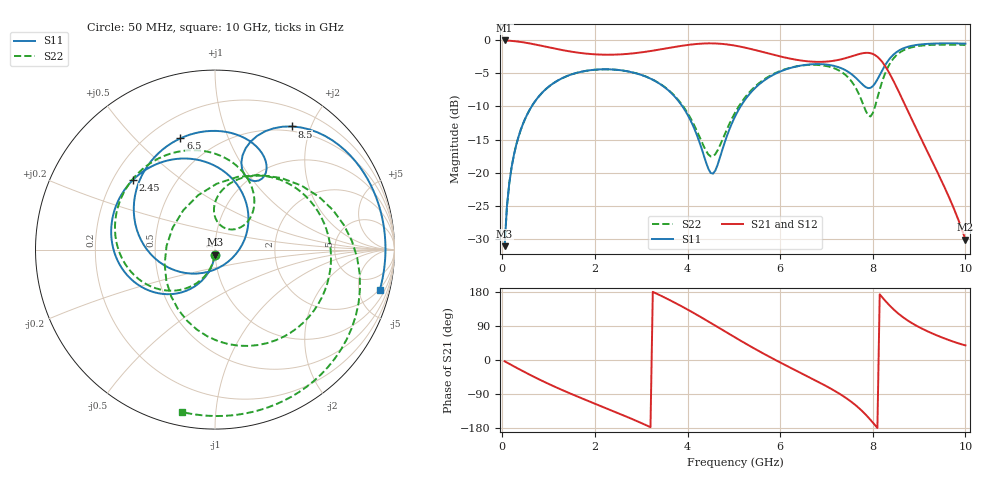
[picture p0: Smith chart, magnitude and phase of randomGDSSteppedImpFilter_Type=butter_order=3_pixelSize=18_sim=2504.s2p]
! freq	dB(S11)	phase(S11)	dB(S12)	phase(S12)
!  dB(S21)	phase(S21)	dB(S22)	phase(S22)
!S-par simulation data
#  GHz  S  DB  R 50
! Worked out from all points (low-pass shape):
!   200 points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, 50 MHz to 10 GHz, reference 50 ohm
!   highest |S21| = -0.01 dB at 50 MHz (marker M1); lowest = -30.1 dB at 10 GHz (marker M2)
!   |S21| within 3 dB of the highest: start of sweep to 6.418 GHz; 7.217 GHz to 8.174 GHz (956.6 MHz wide, 12.4 % of centre)
!   lowest |S11| = -31.1 dB at 50 MHz (marker M3), VSWR 1.06, Z = 49.8 - j2.77 ohm
!   |S11| at or under -10 dB: start of sweep to 633.7 MHz; 3.891 GHz to 5.146 GHz (1.255 GHz wide, 27.8 % of centre)
!   |S22| runs from -31.1 to -0.6 dB; largest |S21 - S12| = 0
!   S11 on the Smith chart (normalised r, x): 50 MHz: 1.00, -0.06; 2.45 GHz: 0.28, +0.34; 6.5 GHz: 0.32, +0.69; 8.5 GHz: 0.43, +1.72; 10 GHz: 1.86, -7.83
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0.05  -31.13 -92.3  -0.01 -3.4  -0.01 -3.4  -31.14 -92.6
0.2  -19.23 -103.1  -0.08 -13.5  -0.08 -13.5  -19.23 -104.3
0.5  -11.76 -122.0  -0.35 -33.0  -0.35 -33.0  -11.76 -125.1
1.05  -6.75 -153.2  -1.12 -65.9  -1.12 -65.9  -6.75 -159.7
1.75  -4.68 172.2  -1.96 -102.8  -1.96 -102.8  -4.69 161.2
2.45  -4.44 139.7  -2.15 -137.7  -2.15 -137.7  -4.44 124.4
3.4  -6.57 90.6  -1.38 171.2  -1.38 171.2  -6.54 72.9
3.95  -10.64 52.0  -0.74 136.6  -0.74 136.6  -10.44 45.2
4.5  -20.06 -43.1  -0.45 97.9  -0.45 97.9  -17.56 62.5
5.05  -11.19 -158.3  -0.82 57.9  -0.82 57.9  -10.64 87.5
5.7  -5.84 152.5  -1.90 12.9  -1.90 12.9  -5.69 50.2
6.5  -3.75 107.2  -3.09 -37.6  -3.09 -37.6  -3.78 -3.1
6.7  -3.61 97.0  -3.23 -50.0  -3.23 -50.0  -3.70 -16.9
7.4  -4.47 64.0  -2.72 -98.4  -2.72 -98.4  -5.17 -76.1
7.65  -5.78 56.5  -2.18 -121.4  -2.18 -121.4  -7.42 -111.5
7.85  -7.08 59.5  -1.89 -144.4  -1.89 -144.4  -10.69 -164.0
8.15  -5.25 73.7  -2.82 173.2  -2.82 173.2  -7.44 72.7
8.35  -2.91 67.1  -4.85 145.5  -4.85 145.5  -3.75 27.1
8.5  -1.84 58.1  -6.88 127.9  -6.88 127.9  -2.33 3.4
8.75  -0.98 43.0  -10.56 104.6  -10.56 104.6  -1.24 -25.2
9.15  -0.54 22.5  -16.40 77.6  -16.40 77.6  -0.73 -56.4
10  -0.49 -13.8  -30.14 38.6  -30.14 38.6  -0.69 -101.4
